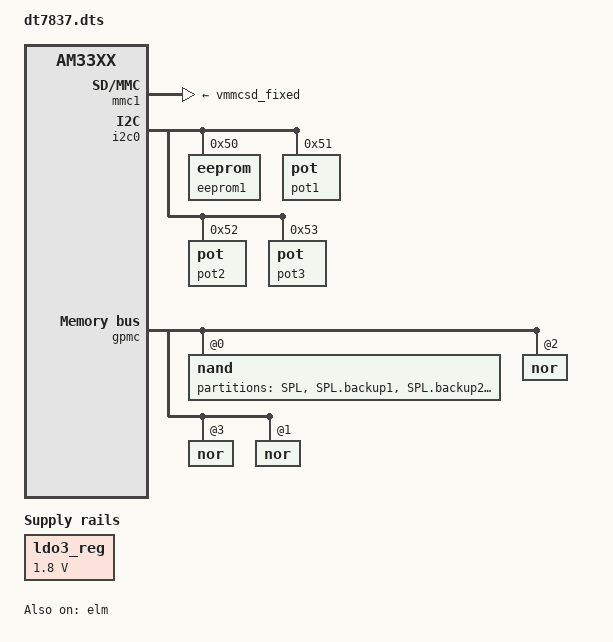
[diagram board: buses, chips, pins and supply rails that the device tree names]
/*
 * Device tree for the DT7837 board. This tree
 * includes am33xx.dtsi and am335x-bone-common.dtsi and  and overrides its 
 * device tree bindings as required
 *
 * Copyright (C) 2014 Data Translation Inc
 *
 * This program is free software; you can redistribute it and/or modify
 * it under the terms of the GNU General Public License version 2 as
 * published by the Free Software Foundation.
 * ---------------------------------------------------------------------------
 * Device Tree Bindings : 
 * 
 * This device tree adds the following bindings which are parsed by the DT78xx 
 * board driver. Each gpmc child node has the following additional bindings.
 * <gpmc,reg-config1> through <gpmc,reg-config7> which are used to write 32-bit
 * values directly to each gpmc child's chip select's GPMC_CONFIG1-GPMC_CONFIG7
 * registers. These are optional.
 *
 * There must be a top level node identifying the board and its constituent
 * subsystems. All bindings for the board are mandatory unless noted otherwise,
 * compatible : string identifying  driver name in struct platform_driver 
 * pinctrl-names : always "default"
 * pinctrl-0 : phandle to gpio pin node controlled by the board
 * status : always  "okay"
 * interrupt-parent = phandle to interrupt controller node 
 * fpga-cs : Chip select output in the GPMC address space
 * TP0 : optional. GPIO used as test point
 *
 * The board node has children nodes that identify 
 * data acquisition subsystems. Each daq subsystem node name must have one of
 * these as substrings {ain|aout|din|dout|timer|quad|stream}. Therefore, ain,
 * ain99, my_ain are all valid.
 * Each subsystem node has the following bindings.
 *
 * status : {"okay"|"disabled"} Mandatory
 * dmas : Required only if the subsystem uses DMA. This specifies the phandle to
 *        the edma parent and the edma channel number.
 *        See section 11.3.20 EDMA Events, Table 11-24 Crossbar 
 *        Mapped, section 9.2.3 EDMA Event Multiplexing and sections 9.3.1.55 to
 *        9.3.1.70 in the AM335x TRM (SPRUH73J).
 *        Event 30 = xdma_event_intr2 -> EDMA_CHAN2 crossbar mapped
 *        Event 29 = xdma_event_intr1 -> EDMA_CHAN1 crossbar mapped
 *        Event 28 = xdma_event_intr0 -> EDMA_CHAN0 crossbar mapped
 *        Event 23 = gpioevt1 -> EDMA_CHAN3 direct mapped
 * dma-names : mandatory if "dmas" is specified. Must be either {"in"|"out"} 
 * fifo-cs : GPMC chip select register number. Mandatory if "dmas" is specified.
 *	     This is the chip select for the fifo used by the subsystem
 * interrupts : If the subsystem uses DMA && if the edma event input causes
 *	   interrupt, this is mandatory.
 *         This specifies the interrupt {90|124|123} caused by the dma 
 *         event inputs. See Table 6-1 in TRM.
 *         x_dma_event_intr2->Interrupt 90,
 *         x_dma_event_intr1->Interrupt 124  
 *         x_dma_event_intr0->Interrupt 123
 *         For dma channels triggered by gpio event inputs, this binding is 
 *         absent.
 * fpga-dma-clr : Optional. This tuple specifies the fpga reg offset and value
 *	   that must be written to clear the dma status reg in the fpga.
 * dma-gpios : Optional and used iff dmas is specified.
 *         If the subsystem uses DMA and a gpio input is used as the event
 *         input, this specifies a phandle to the gpio chip along with the input
 *         pin. Example, <&gpio1 17 GPIO_ACTIVE_HIGH> 
 *         DMA channels using xdma_event_intr0/1/2, do not need this entry.  
 * offset : phandle to i2c potentiometer for subsystem's offset calibration
 * gain  : phandle to i2c potentiometer for subsystem's gain calibration
 * channels : #of channels in subsystem; for digital in/out this is the #of bits
 */
/dts-v1/;

#include "am33xx.dtsi"
#include "am335x-bone-common.dtsi"
#include "dt78xx_dts.h"

//Define this to use gpio as an edma event input. See AM335x TRM
//#define USE_GPIO_EVENT (1)

&ldo3_reg {
    regulator-min-microvolt = <1800000>;
    regulator-max-microvolt = <1800000>;
    regulator-always-on;
};

&mmc1 {
    vmmc-supply = <&vmmcsd_fixed>;
};

&mmc2 {
    status = "disabled"; /* disabled for DT78xx use */
};

&epwmss0 {
    status = "disabled"; /* disabled for DT78xx use */
};

&am33xx_pinmux {
    /*Override the default which is assigned to <&clkout2_pin> and prevents
      use of xdma_event_intr1
     */
    pinctrl-0 = <&user_leds_default>;

    dt78xx_pins: dt78xx_pins {
        pinctrl-single,pins = <
            /* Test pin */
            PINCTRL_MCASP0_FSR      (IDIS | PU |MODE7) /* gpio3_19 */

            /* DMA REQ input */
            PINCTRL_ECAP0_IN_PWM0_OUT   (IEN | OFF |MODE6) /* xdma_event_intr2*/

            /* DMA REQ input */
            PINCTRL_XDMA_EVENT_INTR1    (IEN | OFF | MODE0 )/*xdma_event_intr1*/

            /* DMA request using gpio1_17 */
            PINCTRL_GPMC_A1             (IEN | OFF | MODE7 )/*gpio1_17*/
            
            /* gpio pin tied to fpga reset. Config as input for normal operation */
            PINCTRL_GPMC_A0       (IEN | OFF |MODE7) /* gpio1_16->fpga reset */
        >;
    };
    dt78xx_gpmc_pins: dt78xx_gpmc_pins  {
        pinctrl-single,pins = <
            /* gpmc address/data multiplexd signals */
            PINCTRL_GPMC_AD0    (IEN | PD | MODE0)  /* gpmc_ad0 */
            PINCTRL_GPMC_AD1    (IEN | PD | MODE0)  /* gpmc_ad1 */
            PINCTRL_GPMC_AD2    (IEN | PD | MODE0)  /* gpmc_ad2 */
            PINCTRL_GPMC_AD3    (IEN | PD | MODE0)  /* gpmc_ad3 */
            PINCTRL_GPMC_AD4    (IEN | PD | MODE0)  /* gpmc_ad4 */
            PINCTRL_GPMC_AD5    (IEN | PD | MODE0)  /* gpmc_ad5 */
            PINCTRL_GPMC_AD6    (IEN | PD | MODE0)  /* gpmc_ad6 */
            PINCTRL_GPMC_AD7    (IEN | PD | MODE0)  /* gpmc_ad7 */
            PINCTRL_GPMC_AD8    (IEN | PD | MODE0)  /* gpmc_ad8 */
            PINCTRL_GPMC_AD9    (IEN | PD | MODE0)  /* gpmc_ad9 */
            PINCTRL_GPMC_AD10   (IEN | PD | MODE0)  /* gpmc_ad10 */
            PINCTRL_GPMC_AD11   (IEN | PD | MODE0)  /* gpmc_ad11 */
            PINCTRL_GPMC_AD12   (IEN | PD | MODE0)  /* gpmc_ad12 */
            PINCTRL_GPMC_AD13   (IEN | PD | MODE0)  /* gpmc_ad13 */
            PINCTRL_GPMC_AD14   (IEN | PD | MODE0)  /* gpmc_ad14 */
            PINCTRL_GPMC_AD15   (IEN | PD | MODE0)  /* gpmc_ad15 */

            PINCTRL_GPMC_WAIT0  (IEN | PU | MODE0 ) /* gpmc_wait0 */
            PINCTRL_GPMC_WPN    (IDIS | PU | MODE0 )/* gpmc_wpn  */
            PINCTRL_GPMC_BEN1   (IDIS | PU | MODE0 )/* gpmc_be1n */
            PINCTRL_GPMC_CSN0   (IDIS | PU | MODE0 )/* gpmc_csn0 */
            PINCTRL_GPMC_CSN1   (IDIS | PU | MODE0 )/* gpmc_csn1  */
            PINCTRL_GPMC_CSN2   (IDIS | PU | MODE0 )/* gpmc_csn2 */
            PINCTRL_GPMC_CSN3   (IDIS | PU | MODE0 )/* gpmc_csn3 Not on P8/P9 */
            PINCTRL_GPMC_CLK    (IEN | PD | MODE0 ) /* gpmc_clk_mux0 */
            PINCTRL_GPMC_ADVN_ALE (IEN | PU | MODE0 )/* gpmc_advn_ale */
            PINCTRL_GPMC_OEN_REN (IEN | PU | MODE0 ) /* gpmc_oen_ren */
            PINCTRL_GPMC_WEN    (IEN | PU | MODE0 ) /* gpmc_wen */
            PINCTRL_GPMC_BEN0_CLE (IEN | PU | MODE0 )   /* gpmc_be0n_cle */
        >;
    };
};

&edma {
    reg =   <0x49000000 0x10000>,  /* EDMA3CC registers */
            <0x44e10f90 0x40>;     /* Correct range of tpcc_evt_mux regs */

    ti,edma-xbar-event-map = <32 12>,   /* gpevt2 -> edma chan 12 */
                             <0 EDMA_CHAN3>,  /* gpioevt1 -> chan 23 direct map*/
                             <30 EDMA_CHAN2>, /* xdma_event_intr2 -> chan 20 */
                             <29 EDMA_CHAN1>, /* xdma_event_intr1 -> chan 21 */
                             <28 EDMA_CHAN0>; /* xdma_event_intr0 -> chan 13 */
};

/* Required for NAND ECC */
&elm {
    status = "okay";
};
&i2c0 
{
	/* Serial eeprom. reg binding specifies i2c address and eeprom size */
	eeprom1:eeprom@50
	{
		status = "okay";
		reg = <0x50 0x2000>;
		type = "24lc64";
	};
	/* potentiometer referenced by phandle in daq subsystem.
       reg binding is a triple <A B C>; A is devices's i2c address, B is eeprom 
       address starting at which calibration params are stored and C is number 
       of eeprom bytes reserved for storing this potentiometer's parameters */
	pot1:pot@51
	{
		status = "okay";
		type = "isl22343";
		reg = <0x51 0x800 0x80>;
	};
	pot2:pot@52
	{
		status = "okay";
		type = "isl22343";
		reg = <0x52 0x880 0x80>;
	};
	pot3:pot@53
	{
		status = "okay";
		type = "isl22343";
		reg = <0x53 0x900 0x80>;
	};
};

&gpmc {
    status = "okay";
    pinctrl-names = "default";
    pinctrl-0 = <&dt78xx_gpmc_pins>;

    /* chip select ranges */
    ranges = <0 0 0x08000000 0x10000000>,   /* CS0: NAND */
             <1 0 0x18000000 0x01000000>,   /*FPGA start=384M len=16M*/
             <2 0 0x19000000 0x01000000>,   /*FIFO start=400M len=16M*/
             <3 0 0x1A000000 0x01000000>;   /*FIFO start=416M len=16M*/
    
    nand@0,0 
    {
            reg = <0 0 0>; /* CS0, offset 0 */
            ti,nand-ecc-opt = "bch16";
            ti,elm-id = <&elm>;
            nand-bus-width = <16>;
            gpmc,device-width = <2>;
            gpmc,sync-clk-ps = <0>;
            gpmc,cs-on-ns = <0>;
            gpmc,cs-rd-off-ns = <80>;
            gpmc,cs-wr-off-ns = <80>;
            gpmc,adv-on-ns = <0>;
            gpmc,adv-rd-off-ns = <80>;
            gpmc,adv-wr-off-ns = <80>;
            gpmc,we-on-ns = <20>;
            gpmc,we-off-ns = <60>;
            gpmc,oe-on-ns = <20>;
            gpmc,oe-off-ns = <60>;
            gpmc,access-ns = <40>;
            gpmc,rd-cycle-ns = <80>;
            gpmc,wr-cycle-ns = <80>;
            gpmc,wait-on-read = "true";
            gpmc,wait-on-write = "true";
            gpmc,bus-turnaround-ns = <0>;
            gpmc,cycle2cycle-delay-ns = <0>;
            gpmc,clk-activation-ns = <0>;
            gpmc,wait-monitoring-ns = <0>;
            gpmc,wr-access-ns = <40>;
            gpmc,wr-data-mux-bus-ns = <0>;
            /* MTD partition table 
             * All SPL-* partitions are sized to minimal length which can be 
             * independently programmable. For NAND flash this is equal to size 
             * of 256KB erase-block */
            #address-cells = <1>;
            #size-cells = <1>;
            partition@0 {
                    label = "SPL";
                    reg = <0x00000000 0x00040000>;
            };
            partition@1 {
                    label = "SPL.backup1";
                    reg = <0x00040000 0x00040000>;
            };
            partition@2 {
                    label = "SPL.backup2";
                    reg = <0x00080000 0x00040000>;
            };
            partition@3 {
                    label = "SPL.backup3";
                    reg = <0x000C0000 0x00040000>;
            };
            partition@4 {
                    label = "u-boot";
                    reg = <0x00100000 0x001C0000>;
            };
            partition@5 {
                    label = "u-boot-spl-os";
                    reg = <0x002C0000 0x00040000>;
            };
            partition@6 {
                    label = "u-boot-env";
                    reg = <0x00300000 0x00040000>;
            };
            partition@7 {
                    label = "kernel";
                    reg = <0x00340000 0x00500000>;
            };
            partition@8 {
                    label = "rootfs";
                    reg = <0x00840000 0x7f7c0000>;
            };
       };   
    /*
     Since the gpmc driver only recognizes generic children with specific names,
     such as, "ethernet" and "nor" we resort to using a "nor" device
     */

    nor@2 /* Output fifo */
    {
        status = "okay";
        reg = <2 0 0x01000000>;     /* CS2 */
        bank-width = <2>;        /* GPMC_CONFIG1_DEVICESIZE(1) */
        gpmc,device-width = <2>;

#ifdef _GPMC_DT_OVERRIDE_
        gpmc,reg-config1 = <0x7D001201>;
        gpmc,reg-config2 = <0x000C0080>;
        gpmc,reg-config3 = <0x00030300>;
        gpmc,reg-config4 = <0x0B880000>;
        gpmc,reg-config5 = <0x02000E00>;
        gpmc,reg-config6 = <0x0A0602C2>;
#else
        /*gpmc,no-remap;*/
        gpmc,sync-read;          /* GPMC_CONFIG1_READTYPE_SYNC */
        gpmc,sync-write;        /* GPMC_CONFIG1_WRITETYPE_SYNC */
        gpmc,clk-activation-ns = <20>;  /* GPMC_CONFIG1_CLKACTIVATIONTIME(2) */
        
        gpmc,burst-length = <16>;   /* GPMC_CONFIG1_PAGE_LEN(2) */
        gpmc,burst-read;            /* GPMC_CONFIG1_READMULTIPLE_SUPP */
        gpmc,burst-write;
        gpmc,burst-wrap;

        gpmc,mux-add-data = <2>;    /* GPMC_CONFIG1_MUXTYPE(2) */

        gpmc,sync-clk-ps = <10000>; /* CONFIG1 GPMCFCLKDIVIDER */

        gpmc,cs-on-ns = <1>;
        gpmc,cs-rd-off-ns = <160>;
        gpmc,cs-wr-off-ns = <310>;

        gpmc,adv-on-ns = <0>;       /* CONFIG3 */
        gpmc,adv-rd-off-ns = <40>;
        gpmc,adv-wr-off-ns = <40>;

        gpmc,we-on-ns = <60>;       /* CONFIG4 */
        gpmc,we-off-ns = <310>;
        gpmc,oe-on-ns = <60>;
        gpmc,oe-off-ns = <160>;

        gpmc,page-burst-access-ns = <20>;   /* CONFIG 5 */
        gpmc,access-ns = <140>;
        gpmc,rd-cycle-ns = <160>;
        gpmc,wr-cycle-ns = <310>;

        gpmc,wr-access-ns = <100>;      /* CONFIG 6 */
        gpmc,wr-data-mux-bus-ns = <60>;

        gpmc,bus-turnaround-ns = <40>;      /* CONFIG6:3:0 = 4 */
        gpmc,cycle2cycle-samecsen;      /* CONFIG6:7 = 1 */
        gpmc,cycle2cycle-delay-ns = <40>;   /* CONFIG6:11:8 = 4 */
#endif
    };

    nor@3 /* input fifo */
    {
        status = "okay";
        reg = <3 0 0x01000000>;     /* CS3 */
        bank-width = <2>;       /* GPMC_CONFIG1_DEVICESIZE(1) */
        gpmc,device-width = <2>;

#ifdef _GPMC_DT_OVERRIDE_
        gpmc,reg-config1 = <0x7D001201>;
        gpmc,reg-config2 = <0x00000A80>;
        gpmc,reg-config3 = <0x00030300>;
        gpmc,reg-config4 = <0x00000A86>;
        gpmc,reg-config5 = <0x020A000E>;
        gpmc,reg-config6 = <0x000004C4>;
#else
        /*gpmc,no-remap;*/
        /*gpmc,burst-read;*/        /* GPMC_CONFIG1_READMULTIPLE_SUPP */
        gpmc,sync-read;         /* GPMC_CONFIG1_READTYPE_SYNC */
        gpmc,sync-write;        /* GPMC_CONFIG1_WRITETYPE_SYNC */
        gpmc,clk-activation-ns = <20>;  /* GPMC_CONFIG1_CLKACTIVATIONTIME(2) */
        gpmc,burst-length = <16>;   /* GPMC_CONFIG1_PAGE_LEN(2) */
        gpmc,mux-add-data = <2>;    /* GPMC_CONFIG1_MUXTYPE(2) */

        gpmc,sync-clk-ps = <10000>; /* CONFIG1 GPMCFCLKDIVIDER */

        gpmc,cs-on-ns = <1>;
        gpmc,cs-rd-off-ns = <160>;
        gpmc,cs-wr-off-ns = <310>;

        gpmc,adv-on-ns = <0>;       /* CONFIG3 */
        gpmc,adv-rd-off-ns = <40>;
        gpmc,adv-wr-off-ns = <40>;

        gpmc,we-on-ns = <60>;       /* CONFIG4 */
        gpmc,we-off-ns = <310>;
        gpmc,oe-on-ns = <60>;
        gpmc,oe-off-ns = <160>;

        gpmc,page-burst-access-ns = <20>;   /* CONFIG 5 */
        gpmc,access-ns = <140>;
        gpmc,rd-cycle-ns = <160>;
        gpmc,wr-cycle-ns = <310>;

        gpmc,wr-access-ns = <100>;      /* CONFIG 6 */
        gpmc,wr-data-mux-bus-ns = <60>;

        gpmc,bus-turnaround-ns = <40>;      /* CONFIG6:3:0 = 4 */
        gpmc,cycle2cycle-samecsen;      /* CONFIG6:7 = 1 */
        gpmc,cycle2cycle-delay-ns = <40>;   /* CONFIG6:11:8 = 4 */
#endif
    };
    /*
     See comments above.
     The nor node is for the FPGA tied to CS1. 
     */
    nor@1
    {
        status = "okay";  /* Mandatory */
        reg = <1 0 0x000010000>;    /* CS1 */
        bank-width = <2>;       /* GPMC_CONFIG1_DEVICESIZE(1) */
        gpmc,device-width = <2>;

#ifdef _GPMC_DT_OVERRIDE_
        gpmc,reg-config1 = <0x2C001201>;
        gpmc,reg-config2 = <0x000A0A80>;
        gpmc,reg-config3 = <0x00030300>;
        gpmc,reg-config4 = <0x08860886>;
        gpmc,reg-config5 = <0x00080C0C>;
        gpmc,reg-config6 = <0x080602C2>;
#else
        /*gpmc,burst-read;*/    /* GPMC_CONFIG1_READMULTIPLE_SUPP */
        gpmc,sync-read;         /* GPMC_CONFIG1_READTYPE_SYNC */
        gpmc,sync-write;        /* GPMC_CONFIG1_WRITETYPE_SYNC */
        gpmc,clk-activation-ns = <10>;  /* GPMC_CONFIG1_CLKACTIVATIONTIME(1) */
        gpmc,burst-length = <4>;    /* GPMC_CONFIG1_PAGE_LEN(0) */
        gpmc,mux-add-data = <2>;    /* GPMC_CONFIG1_MUXTYPE(2) */
        gpmc,sync-clk-ps = <10000>; /* CONFIG1 GPMCFCLKDIVIDER */

        gpmc,cs-on-ns = <0>;        /* CONFIG2 */
        gpmc,cs-rd-off-ns = <0>;
        gpmc,cs-wr-off-ns = <0>;
        /* gpmc,cs-extra-delay = <0>; */

        gpmc,adv-on-ns = <0>;       /* CONFIG3 */
        gpmc,adv-extra-delay;
        gpmc,adv-rd-off-ns = <10>;
        gpmc,adv-wr-off-ns = <10>;

        gpmc,we-on-ns = <60>;       /* CONFIG4 */
        gpmc,we-off-ns = <310>;
        gpmc,oe-on-ns = <60>;
        gpmc,oe-off-ns = <160>;

        gpmc,page-burst-access-ns = <20>;   /* CONFIG 5 */
        gpmc,access-ns = <140>;
        gpmc,rd-cycle-ns = <160>;
        gpmc,wr-cycle-ns = <310>;

        gpmc,wr-access-ns = <100>;      /* CONFIG 6 */
        gpmc,wr-data-mux-bus-ns = <60>;

        gpmc,bus-turnaround-ns = <40>;      /* CONFIG6:3:0 = 4 */
        gpmc,cycle2cycle-samecsen;      /* CONFIG6:7 = 1 */
        gpmc,cycle2cycle-delay-ns = <40>;   /* CONFIG6:11:8 = 4 */
#endif
    };
};
 
/ {
    cpus {
        cpu@0 {
            cpu0-supply = <&dcdc2_reg>;
            /*
             * To consider voltage drop between PMIC and SoC,
             * tolerance value is reduced to 2% from 4% and
             * voltage value is increased as a precaution.
             */
            operating-points = <
                /* kHz    uV */
                1000000 1325000
                800000  1300000
                600000  1112000
                300000   969000
            >;
        };
    };

    dt7837{
        compatible = "dt7837"; /* driver name in struct platform_driver */
        pinctrl-names = "default";
        pinctrl-0 = <&dt78xx_pins>;
	status = "okay";

        interrupt-parent = <&intc>; 

        /* Test pin TP0. Initial pin value is the third parameter in <> below
        TP0 = <&gpio3 19 0>;
         */

        fpga-cs = <1>; /* GPMC CS reg tied to FPGA */
        aout /* Analog out subsystem */
        {
            status = "okay";		/* mandatory */
			channels = <1>;
            pot = <&pot3>;       /* single pot for offset and gain */
        };
        ain
        {
            status = "okay";
			gain = <&pot2>;
			offset = <&pot1>;
			channels = <4>;
        };

        din
        {
            status = "okay";
			channels = <8>;
        };

        dout
        {
            status = "okay";
			channels = <8>;
        };

        stream-in /* input stream */
        {
            status = "okay";
            fifo-cs = <3>;
            dma-names = "in";
#ifdef USE_GPIO_EVENT
            dmas = <&edma EDMA_CHAN3>;
            dma-gpios = <&gpio1 17 GPIO_ACTIVE_HIGH>;
	    fpga-dma-clr = <0x0626 0x0008>;
#else
            dmas = <&edma EDMA_CHAN2>;
	    fpga-dma-clr = <0x0626 0x0004>;
            interrupts =<90>;
#endif  
        };

        stream-out /* output stream */ 
        {
            status = "okay";		
            fifo-cs = <2>;		
            dma-names = "out";		
            dmas = <&edma EDMA_CHAN1>;  
	    fpga-dma-clr = <0x0626 0x0002>;
            interrupts =<124>;		
        };

		ctr-tmr
		{
			status = "okay";
			channels = <1>;
		};

		measure
		{
			status = "okay";
			channels = <1>;
		};

		tach
		{
			status = "okay";
			channels = <1>;
		};
    };
 };
